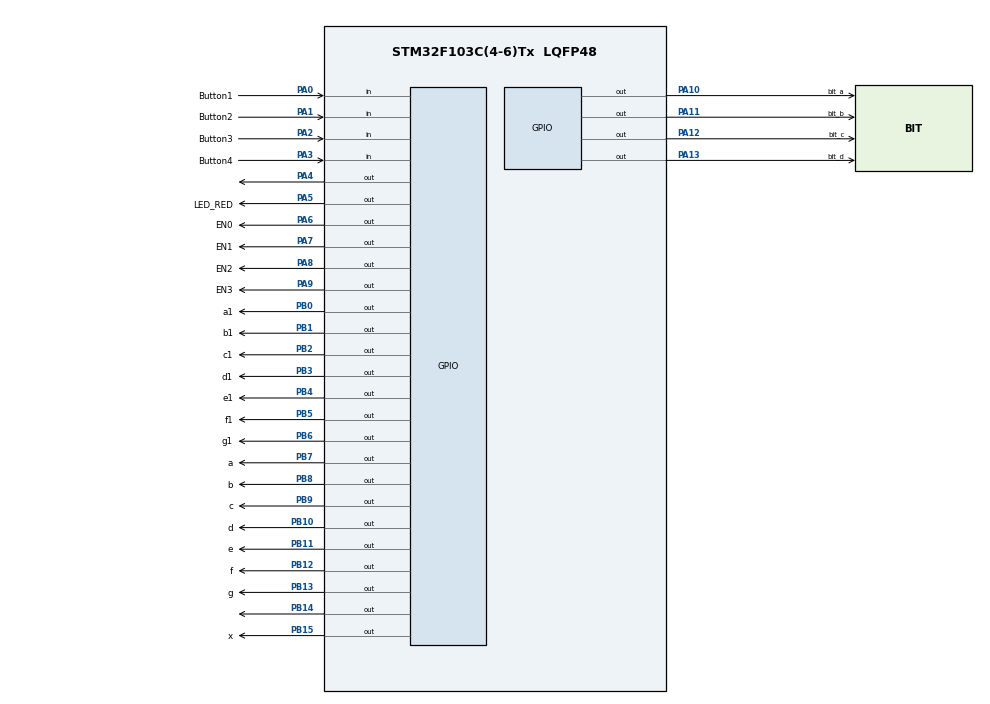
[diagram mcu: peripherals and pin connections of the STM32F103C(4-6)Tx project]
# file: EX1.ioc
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Mcu.Family=STM32F1
Mcu.Name=STM32F103C(4-6)Tx
Mcu.Package=LQFP48
NVIC.PriorityGroup=NVIC_PRIORITYGROUP_4
NVIC.TIM2_IRQn=true\:0\:0\:false\:false\:true\:true\:true
PA0-WKUP.GPIO_Label=Button1
PA0-WKUP.GPIO_PuPd=GPIO_PULLUP
PA0-WKUP.Signal=GPIO_Input
PA1.GPIO_Label=Button2
PA1.GPIO_PuPd=GPIO_PULLUP
PA1.Signal=GPIO_Input
PA10.GPIO_Label=bit_a
PA10.Signal=GPIO_Output
PA11.GPIO_Label=bit_b
PA11.Signal=GPIO_Output
PA12.GPIO_Label=bit_c
PA12.Signal=GPIO_Output
PA13.GPIO_Label=bit_d
PA13.Signal=GPIO_Output
PA2.GPIO_Label=Button3
PA2.GPIO_PuPd=GPIO_PULLUP
PA2.Signal=GPIO_Input
PA3.GPIO_Label=Button4
PA3.GPIO_PuPd=GPIO_PULLUP
PA3.Signal=GPIO_Input
PA4.Signal=GPIO_Output
PA5.GPIO_Label=LED_RED
PA5.Signal=GPIO_Output
PA6.GPIO_Label=EN0
PA6.Signal=GPIO_Output
PA7.GPIO_Label=EN1
PA7.Signal=GPIO_Output
PA8.GPIO_Label=EN2
PA8.Signal=GPIO_Output
PA9.GPIO_Label=EN3
PA9.Signal=GPIO_Output
PB0.GPIO_Label=a1
PB0.Signal=GPIO_Output
PB1.GPIO_Label=b1
PB1.Signal=GPIO_Output
PB10.GPIO_Label=d
PB10.Signal=GPIO_Output
PB11.GPIO_Label=e
PB11.Signal=GPIO_Output
PB12.GPIO_Label=f
PB12.Signal=GPIO_Output
PB13.GPIO_Label=g
PB13.Signal=GPIO_Output
PB14.Signal=GPIO_Output
PB15.GPIO_Label=x
PB15.Signal=GPIO_Output
PB2.GPIO_Label=c1
PB2.Signal=GPIO_Output
PB3.GPIO_Label=d1
PB3.Signal=GPIO_Output
PB4.GPIO_Label=e1
PB4.Signal=GPIO_Output
PB5.GPIO_Label=f1
PB5.Signal=GPIO_Output
PB6.GPIO_Label=g1
PB6.Signal=GPIO_Output
PB7.GPIO_Label=a
PB7.Signal=GPIO_Output
PB8.GPIO_Label=b
PB8.Signal=GPIO_Output
PB9.GPIO_Label=c
PB9.Signal=GPIO_Output
ProjectManager.HeapSize=0x200
ProjectManager.StackSize=0x400
ProjectManager.TargetToolchain=STM32CubeIDE
RCC.APB1Freq_Value=8000000
RCC.APB2Freq_Value=8000000
VP_SYS_VS_ND.Mode=No_Debug
VP_TIM2_VS_ClockSourceINT.Mode=Internal
board=custom

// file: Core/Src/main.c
/* USER CODE BEGIN Header */
/**
  ******************************************************************************
  * @file           : main.c
  * @brief          : Main program body
  ******************************************************************************
  * @attention
  *
  * <h2><center>&copy; Copyright (c) 2024 STMicroelectronics.
  * All rights reserved.</center></h2>
  *
  * This software component is licensed by ST under BSD 3-Clause license,
  * the "License"; You may not use this file except in compliance with the
  * License. You may obtain a copy of the License at:
  *                        opensource.org/licenses/BSD-3-Clause
  *
  ******************************************************************************
  */
/* USER CODE END Header */
#include "main.h"

/* USER CODE BEGIN Includes */
#include "scheduler.h"
#include "led_traffic.h"
#include "fsm_automatic.h"
#include "button.h"
#include "software_timer.h"
#include "led_traffic.h"
#include "fsm_manual.h"
#include "fsm_setting.h"
/* USER CODE END Includes */

TIM_HandleTypeDef htim2;

void SystemClock_Config(void);
static void MX_TIM2_Init(void);
static void MX_GPIO_Init(void);

/* USER CODE BEGIN 0 */
void LED(){
	HAL_GPIO_TogglePin(LED_RED_GPIO_Port, LED_RED_Pin);
}
/* USER CODE END 0 */

int main(void)
{

  /* MCU Configuration--------------------------------------------------------*/

  /* Reset of all peripherals, Initializes the Flash interface and the Systick. */
  HAL_Init();

  /* Configure the system clock */
  SystemClock_Config();

  /* Initialize all configured peripherals */
  MX_TIM2_Init();
  MX_GPIO_Init();
  /* USER CODE BEGIN 2 */
  HAL_TIM_Base_Start_IT(&htim2);
  /* USER CODE END 2 */

  /* Infinite loop */
  /* USER CODE BEGIN WHILE */

  SCH_Add_Task(fsm_setting,0, 1);
  SCH_Add_Task(fsm_manual, 1, 50);
  SCH_Add_Task(LED, 2, 50);
  while (1)
  {
	  SCH_Dispath_Tasks();
    /* USER CODE END WHILE */

  }
}

void SystemClock_Config(void)
{
  RCC_OscInitTypeDef RCC_OscInitStruct = {0};
  RCC_ClkInitTypeDef RCC_ClkInitStruct = {0};

  /** Initializes the RCC Oscillators according to the specified parameters
  * in the RCC_OscInitTypeDef structure.
  */
  RCC_OscInitStruct.OscillatorType = RCC_OSCILLATORTYPE_HSI;
  RCC_OscInitStruct.HSIState = RCC_HSI_ON;
  RCC_OscInitStruct.HSICalibrationValue = RCC_HSICALIBRATION_DEFAULT;
  RCC_OscInitStruct.PLL.PLLState = RCC_PLL_NONE;
  if (HAL_RCC_OscConfig(&RCC_OscInitStruct) != HAL_OK)
  {
    Error_Handler();
  }
  /** Initializes the CPU, AHB and APB buses clocks
  */
  RCC_ClkInitStruct.ClockType = RCC_CLOCKTYPE_HCLK|RCC_CLOCKTYPE_SYSCLK
                              |RCC_CLOCKTYPE_PCLK1|RCC_CLOCKTYPE_PCLK2;
  RCC_ClkInitStruct.SYSCLKSource = RCC_SYSCLKSOURCE_HSI;
  RCC_ClkInitStruct.AHBCLKDivider = RCC_SYSCLK_DIV1;
  RCC_ClkInitStruct.APB1CLKDivider = RCC_HCLK_DIV1;
  RCC_ClkInitStruct.APB2CLKDivider = RCC_HCLK_DIV1;

  if (HAL_RCC_ClockConfig(&RCC_ClkInitStruct, FLASH_LATENCY_0) != HAL_OK)
  {
    Error_Handler();
  }
}

static void MX_TIM2_Init(void)
{

  TIM_ClockConfigTypeDef sClockSourceConfig = {0};
  TIM_MasterConfigTypeDef sMasterConfig = {0};

  htim2.Instance = TIM2;
  htim2.Init.Prescaler = 0;
  htim2.Init.CounterMode = TIM_COUNTERMODE_UP;
  htim2.Init.Period = 65535;
  htim2.Init.ClockDivision = TIM_CLOCKDIVISION_DIV1;
  htim2.Init.AutoReloadPreload = TIM_AUTORELOAD_PRELOAD_DISABLE;
  if (HAL_TIM_Base_Init(&htim2) != HAL_OK)
  {
    Error_Handler();
  }
  sClockSourceConfig.ClockSource = TIM_CLOCKSOURCE_INTERNAL;
  if (HAL_TIM_ConfigClockSource(&htim2, &sClockSourceConfig) != HAL_OK)
  {
    Error_Handler();
  }
  sMasterConfig.MasterOutputTrigger = TIM_TRGO_RESET;
  sMasterConfig.MasterSlaveMode = TIM_MASTERSLAVEMODE_DISABLE;
  if (HAL_TIMEx_MasterConfigSynchronization(&htim2, &sMasterConfig) != HAL_OK)
  {
    Error_Handler();
  }

}

static void MX_GPIO_Init(void)
{
  GPIO_InitTypeDef GPIO_InitStruct = {0};

  /* GPIO Ports Clock Enable */
  __HAL_RCC_GPIOA_CLK_ENABLE();
  __HAL_RCC_GPIOB_CLK_ENABLE();

  /*Configure GPIO pin Output Level */
  HAL_GPIO_WritePin(GPIOA, GPIO_PIN_4|LED_RED_Pin|EN0_Pin|EN1_Pin
                          |EN2_Pin|EN3_Pin|bit_a_Pin|bit_b_Pin
                          |bit_c_Pin|bit_d_Pin, GPIO_PIN_RESET);

  /*Configure GPIO pin Output Level */
  HAL_GPIO_WritePin(GPIOB, a1_Pin|b1_Pin|c1_Pin|d_Pin
                          |e_Pin|f_Pin|g_Pin|GPIO_PIN_14
                          |x_Pin|d1_Pin|e1_Pin|f1_Pin
                          |g1_Pin|a_Pin|b_Pin|c_Pin, GPIO_PIN_RESET);

  /*Configure GPIO pins : Button1_Pin Button2_Pin Button3_Pin Button4_Pin */
  GPIO_InitStruct.Pin = Button1_Pin|Button2_Pin|Button3_Pin|Button4_Pin;
  GPIO_InitStruct.Mode = GPIO_MODE_INPUT;
  GPIO_InitStruct.Pull = GPIO_PULLUP;
  HAL_GPIO_Init(GPIOA, &GPIO_InitStruct);

  /*Configure GPIO pins : PA4 LED_RED_Pin EN0_Pin EN1_Pin
                           EN2_Pin EN3_Pin bit_a_Pin bit_b_Pin
                           bit_c_Pin bit_d_Pin */
  GPIO_InitStruct.Pin = GPIO_PIN_4|LED_RED_Pin|EN0_Pin|EN1_Pin
                          |EN2_Pin|EN3_Pin|bit_a_Pin|bit_b_Pin
                          |bit_c_Pin|bit_d_Pin;
  GPIO_InitStruct.Mode = GPIO_MODE_OUTPUT_PP;
  GPIO_InitStruct.Pull = GPIO_NOPULL;
  GPIO_InitStruct.Speed = GPIO_SPEED_FREQ_LOW;
  HAL_GPIO_Init(GPIOA, &GPIO_InitStruct);

  /*Configure GPIO pins : a1_Pin b1_Pin c1_Pin d_Pin
                           e_Pin f_Pin g_Pin PB14
                           x_Pin d1_Pin e1_Pin f1_Pin
                           g1_Pin a_Pin b_Pin c_Pin */
  GPIO_InitStruct.Pin = a1_Pin|b1_Pin|c1_Pin|d_Pin
                          |e_Pin|f_Pin|g_Pin|GPIO_PIN_14
                          |x_Pin|d1_Pin|e1_Pin|f1_Pin
                          |g1_Pin|a_Pin|b_Pin|c_Pin;
  GPIO_InitStruct.Mode = GPIO_MODE_OUTPUT_PP;
  GPIO_InitStruct.Pull = GPIO_NOPULL;
  GPIO_InitStruct.Speed = GPIO_SPEED_FREQ_LOW;
  HAL_GPIO_Init(GPIOB, &GPIO_InitStruct);

}

/* USER CODE BEGIN 4 */
void HAL_TIM_PeriodElapsedCallback ( TIM_HandleTypeDef * htim )
{
	SCH_Update();
	timerRun();
	getKeyInput();

}
/* USER CODE END 4 */

void Error_Handler(void)
{
  __disable_irq();
  while (1)
  {
  }
}

/************************ (C) COPYRIGHT STMicroelectronics *****END OF FILE****/
